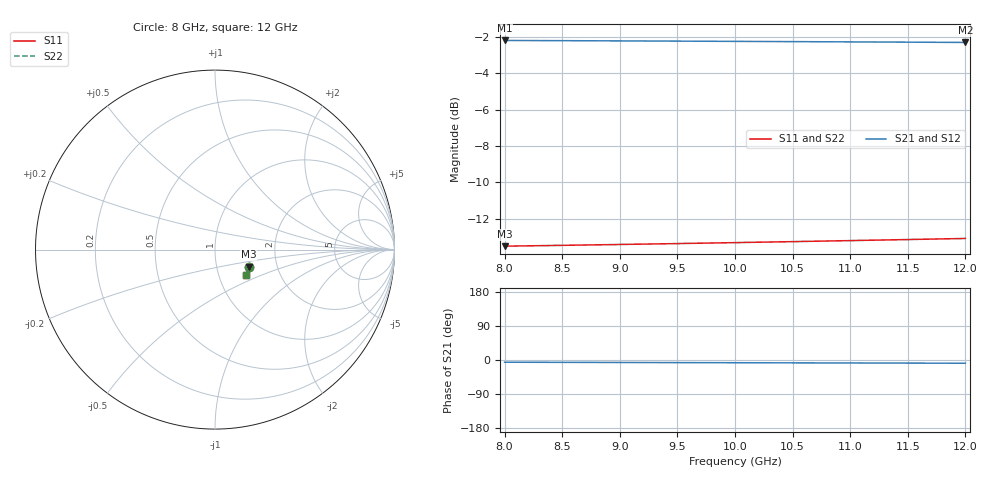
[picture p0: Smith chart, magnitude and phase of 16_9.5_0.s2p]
! Created Mon Oct 19 10:45:54 2020
# ghz S db R 50
! 2 Port Network Data from SP1.SP block
! freq  dbS11  angS11  dbS21  angS21  dbS12  angS12  dbS22  angS22
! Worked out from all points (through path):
!   9 points, 8 GHz to 12 GHz, reference 50 ohm
!   highest |S21| = -2.21 dB at 8 GHz (marker M1); lowest = -2.3 dB at 12 GHz (marker M2)
!   lowest |S11| = -13.5 dB at 8 GHz (marker M3), VSWR 1.54, Z = 71.5 - j14.4 ohm
!   |S11| at or under -10 dB: start of sweep to end of sweep
!   |S22| runs from -13.5 to -13.1 dB; largest |S21 - S12| = 9.2e-16
8  -13.49 -27.0  -2.21 -5.8  -2.21 -5.8  -13.49 -27.0
8.5  -13.45 -28.5  -2.22 -6.2  -2.22 -6.2  -13.45 -28.5
9  -13.40 -30.0  -2.23 -6.5  -2.23 -6.5  -13.40 -30.0
9.5  -13.35 -31.5  -2.25 -6.9  -2.25 -6.9  -13.35 -31.5
10  -13.30 -33.0  -2.26 -7.2  -2.26 -7.2  -13.30 -33.0
10.5  -13.24 -34.5  -2.27 -7.5  -2.27 -7.5  -13.24 -34.5
11  -13.19 -35.9  -2.29 -7.9  -2.29 -7.9  -13.19 -35.9
11.5  -13.13 -37.4  -2.30 -8.2  -2.30 -8.2  -13.13 -37.4
12  -13.07 -38.8  -2.32 -8.5  -2.32 -8.5  -13.07 -38.8
